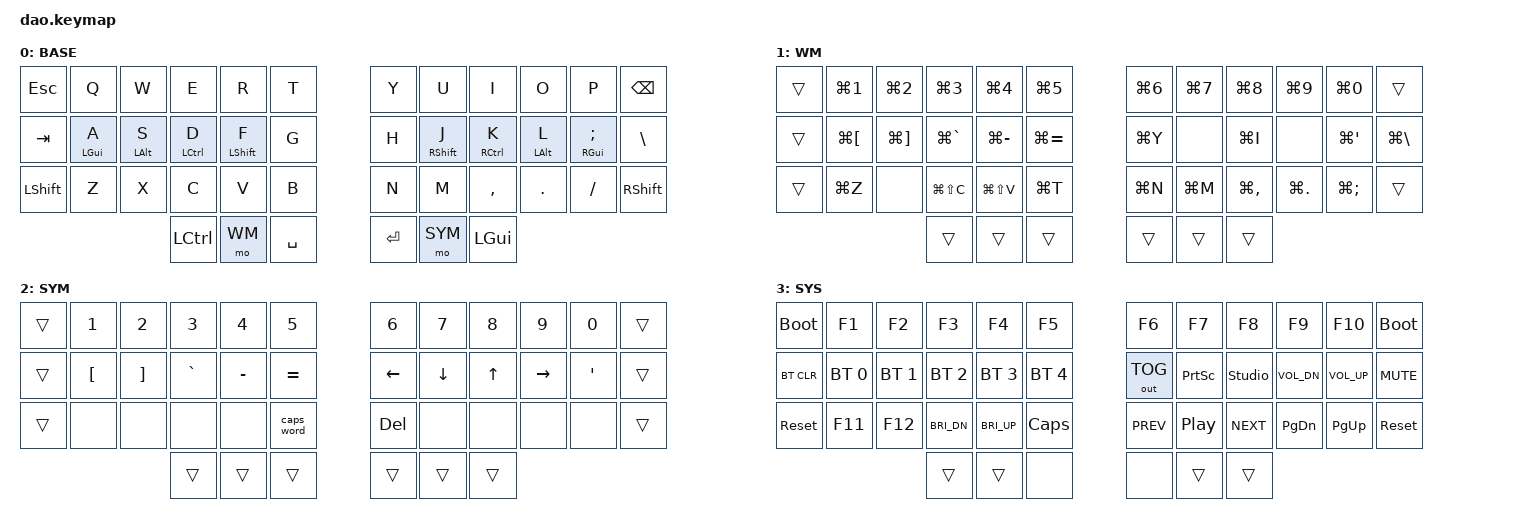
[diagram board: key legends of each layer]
/*
 * DAO 42 -- keymap for a Sway / tmux / Neovim workflow.
 *
 * 42 bindings per layer, matching the board's default physical layout
 * (dao_crkbd_layout / default_transform). The 44-key variant of this board
 * uses dao_full_layout and needs two extra bindings at the ends of row 1.
 *
 * Key positions
 *     0   1   2   3   4   5  |   6   7   8   9  10  11
 *    12  13  14  15  16  17  |  18  19  20  21  22  23
 *    24  25  26  27  28  29  |  30  31  32  33  34  35
 *            36  37  38      |  39  40  41
 */

#include <behaviors.dtsi>
#include <dt-bindings/zmk/keys.h>
#include <dt-bindings/zmk/bt.h>
#include <dt-bindings/zmk/outputs.h>

#define BASE 0
#define WM   1
#define SYM  2
#define SYS  3

#define LEFT_KEYS   0  1  2  3  4  5 12 13 14 15 16 17 24 25 26 27 28 29
#define RIGHT_KEYS  6  7  8  9 10 11 18 19 20 21 22 23 30 31 32 33 34 35
#define THUMBS     36 37 38 39 40 41

/ {
        chosen {
                zmk,physical_layout = &dao_crkbd_layout;
        };
};

/ {
        behaviors {
                /*
                 * Home row mods. Ctrl and Super also live on the thumbs, so these
                 * are the cross-hand alternative rather than the only route.
                 * A hold only resolves when the next key is on the other hand or
                 * on a thumb, which kills almost every same-hand-roll misfire.
                 */
                hml: home_row_mod_left {
                        compatible = "zmk,behavior-hold-tap";
                        #binding-cells = <2>;
                        flavor = "balanced";
                        tapping-term-ms = <280>;
                        quick-tap-ms = <175>;
                        require-prior-idle-ms = <150>;
                        bindings = <&kp>, <&kp>;
                        hold-trigger-key-positions = <RIGHT_KEYS THUMBS>;
                        hold-trigger-on-release;
                };

                hmr: home_row_mod_right {
                        compatible = "zmk,behavior-hold-tap";
                        #binding-cells = <2>;
                        flavor = "balanced";
                        tapping-term-ms = <280>;
                        quick-tap-ms = <175>;
                        require-prior-idle-ms = <150>;
                        bindings = <&kp>, <&kp>;
                        hold-trigger-key-positions = <LEFT_KEYS THUMBS>;
                        hold-trigger-on-release;
                };
        };

        /*
         * Combos, base layer only.
         *
         * None of these pairs touches a home row mod key (A S D F / J K L ;),
         * so a combo can never be confused with a modifier chord, and holding
         * a mod never risks firing one.
         *
         *   Y/H/N  right index column  ->  [  ]
         *   T/G/B  left index column   ->  -  =
         *   M , .  bottom row          ->  `  '
         *   X + C                      ->  caps word
         */
        combos {
                compatible = "zmk,combos";

                combo_lbkt {
                        timeout-ms = <50>;
                        require-prior-idle-ms = <125>;
                        key-positions = <6 18>;
                        layers = <BASE>;
                        bindings = <&kp LBKT>;
                };
                combo_rbkt {
                        timeout-ms = <50>;
                        require-prior-idle-ms = <125>;
                        key-positions = <18 30>;
                        layers = <BASE>;
                        bindings = <&kp RBKT>;
                };
                combo_minus {
                        timeout-ms = <50>;
                        require-prior-idle-ms = <125>;
                        key-positions = <5 17>;
                        layers = <BASE>;
                        bindings = <&kp MINUS>;
                };
                combo_equal {
                        timeout-ms = <50>;
                        require-prior-idle-ms = <125>;
                        key-positions = <17 29>;
                        layers = <BASE>;
                        bindings = <&kp EQUAL>;
                };
                combo_grave {
                        timeout-ms = <50>;
                        require-prior-idle-ms = <125>;
                        key-positions = <31 32>;
                        layers = <BASE>;
                        bindings = <&kp GRAVE>;
                };
                combo_sqt {
                        timeout-ms = <50>;
                        require-prior-idle-ms = <125>;
                        key-positions = <32 33>;
                        layers = <BASE>;
                        bindings = <&kp SQT>;
                };
                combo_caps_word {
                        timeout-ms = <50>;
                        require-prior-idle-ms = <125>;
                        key-positions = <26 27>;
                        layers = <BASE>;
                        bindings = <&caps_word>;
                };
        };

        conditional_layers {
                compatible = "zmk,conditional-layers";
                system {
                        if-layers = <WM SYM>;
                        then-layer = <SYS>;
                };
        };

        keymap {
                compatible = "zmk,keymap";

                /*
                 * BASE
                 *   Thumbs carry Ctrl and Super, so ctrl+b, ctrl+c, super+w and
                 *   super+space are all two-key chords without touching a layer.
                 *   \ sits on the right pinky home row: it is the Neovim localleader.
                 *   Space and Enter are plain taps -- Space is the Neovim leader.
                 *
                 *     esc   q   w   e   r   t  |   y   u   i   o   p   bspc
                 *     tab   a   s   d   f   g  |   h   j   k   l   ;    \
                 *     sft   z   x   c   v   b  |   n   m   ,   .   /   sft
                 *                ctl  wm  spc  |  ret sym gui
                 */
                base_layer {
                        display-name = "BASE";
                        bindings = <
  &kp ESC     &kp Q          &kp W          &kp E           &kp R           &kp T       &kp Y     &kp U           &kp I           &kp O          &kp P             &kp BSPC
  &kp TAB     &hml LGUI A    &hml LALT S    &hml LCTRL D    &hml LSHFT F    &kp G       &kp H     &hmr RSHFT J    &hmr RCTRL K    &hmr LALT L    &hmr RGUI SEMI    &kp BSLH
  &kp LSHFT   &kp Z          &kp X          &kp C           &kp V           &kp B       &kp N     &kp M           &kp COMMA       &kp DOT        &kp FSLH          &kp RSHFT
                                            &kp LCTRL       &mo WM          &kp SPACE   &kp RET   &mo SYM         &kp LGUI
                        >;
                };

                /*
                 * WM  (hold left middle thumb) -- sway workspaces
                 *
                 *   Press where the symbol itself lives:
                 *     digits, [ ] ` - = '  -> their SYM positions
                 *     , . \                -> their BASE positions
                 *     ; t y i              -> their column, first free row below
                 *                             (the ; slot itself is taken by ')
                 *
                 *   Nothing is overridden here: both Shifts, Space, Enter, Ctrl
                 *   and Super fall through to BASE, so "move container to
                 *   workspace" is just Shift + the same key.
                 *
                 *     esc   4   5   6   7   8  |  11  12  13  14   1   bspc
                 *     tab  16  17  20 scr  15  |  21   .  18   .   10  19
                 *     sft   lk  .  rld view 22 | dsm flt   2   3    9  sft
                 */
                wm_layer {
                        display-name = "WM";
                        bindings = <
  &trans   &kp LG(N1)     &kp LG(N2)     &kp LG(N3)      &kp LG(N4)      &kp LG(N5)     &kp LG(N6)  &kp LG(N7)  &kp LG(N8)      &kp LG(N9)    &kp LG(N0)    &trans
  &trans   &kp LG(LBKT)   &kp LG(RBKT)   &kp LG(GRAVE)   &kp LG(MINUS)   &kp LG(EQUAL)  &kp LG(Y)   &none       &kp LG(I)       &none         &kp LG(SQT)   &kp LG(BSLH)
  &trans   &kp LG(Z)      &none          &kp LG(LS(C))   &kp LG(LS(V))   &kp LG(T)      &kp LG(N)   &kp LG(M)   &kp LG(COMMA)   &kp LG(DOT)   &kp LG(SEMI)  &trans
                                         &trans          &trans          &trans         &trans      &trans      &trans
                        >;
                };

                /*
                 * SYM  (hold right middle thumb) -- numbers, symbols, arrows
                 *
                 *   Digits run straight across, so Shift+digit still gives
                 *   ! through ). Only unshifted forms need slots: [ ] ` - = '
                 *   ( { } _ + ~ are Shift + those. Arrows on h j k l.
                 *   Caps word and Delete sit on the two index-stretch keys
                 *   either side of the split, under digits 5 and 6.
                 *   Outer columns are &trans: Esc, Tab, both Shifts, Backspace
                 *   and \ keep their base meaning on every layer.
                 *
                 *     esc   1   2   3   4   5  |   6   7   8   9   0   bspc
                 *     tab   [   ]   `   -   =  |   <   v   ^   >   '    \
                 *     sft   .   .   .   .   cw |  del  .   .   .   .   sft
                 */
                sym_layer {
                        display-name = "SYM";
                        bindings = <
  &trans   &kp N1     &kp N2    &kp N3      &kp N4       &kp N5        &kp N6     &kp N7     &kp N8    &kp N9      &kp N0     &trans
  &trans   &kp LBKT   &kp RBKT  &kp GRAVE   &kp MINUS    &kp EQUAL     &kp LEFT   &kp DOWN   &kp UP    &kp RIGHT   &kp SQT    &trans
  &trans   &none      &none     &none       &none        &caps_word    &kp DEL    &none      &none     &none       &none      &trans
                                &trans      &trans       &trans        &trans     &trans     &trans
                        >;
                };

                /*
                 * SYS  (hold both layer thumbs) -- F-keys, radio, media, firmware
                 *
                 *   bootloader and sys_reset sit on both halves on purpose: on a
                 *   split each half resets itself, so each needs its own key.
                 *
                 *     boot  F1  F2  F3  F4  F5  |  F6   F7   F8   F9  F10  boot
                 *     btclr bt0 bt1 bt2 bt3 bt4 | tog  prsc unlk vol- vol+ mute
                 *     reset F11 F12 br- br+ caps| prev play next pgdn pgup reset
                 */
                system_layer {
                        display-name = "SYS";
                        bindings = <
  &bootloader   &kp F1         &kp F2         &kp F3          &kp F4          &kp F5         &kp F6          &kp F7        &kp F8         &kp F9         &kp F10        &bootloader
  &bt BT_CLR    &bt BT_SEL 0   &bt BT_SEL 1   &bt BT_SEL 2    &bt BT_SEL 3    &bt BT_SEL 4   &out OUT_TOG    &kp PSCRN     &studio_unlock &kp C_VOL_DN   &kp C_VOL_UP   &kp C_MUTE
  &sys_reset    &kp F11        &kp F12        &kp C_BRI_DN    &kp C_BRI_UP    &kp CAPS       &kp C_PREV      &kp C_PP      &kp C_NEXT     &kp PG_DN      &kp PG_UP      &sys_reset
                                              &trans          &trans          &none          &none           &trans        &trans
                        >;
                };
        };
};
